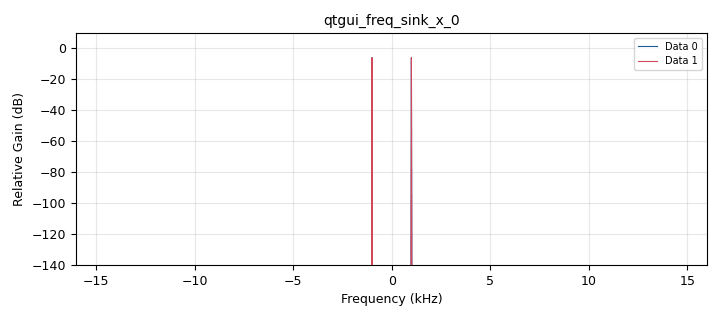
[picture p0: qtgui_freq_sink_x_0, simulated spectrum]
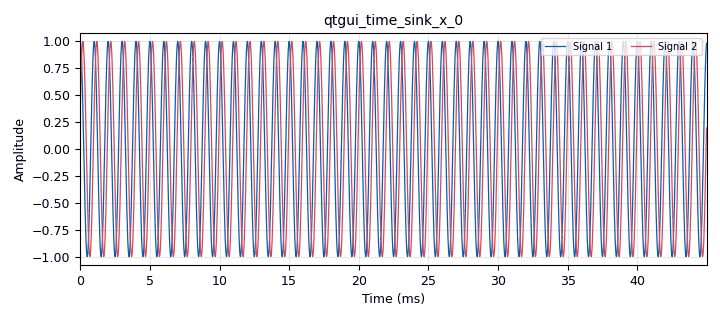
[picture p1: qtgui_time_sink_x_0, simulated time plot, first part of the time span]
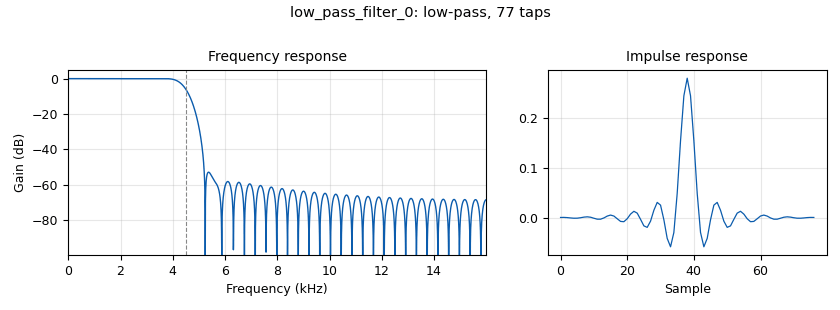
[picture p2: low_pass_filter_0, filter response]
options:
  parameters:
    generate_options: qt_gui
    id: first_prog_signal
    output_language: python
    title: Not titled yet
  states: {}

blocks:
- name: freq
  id: variable_qtgui_range
  parameters:
    start: '1000'
    step: '1'
    stop: '15000'
    value: '1000'
  states: {}
- name: samp_rate
  id: variable
  parameters:
    value: '32000'
  states: {}
- name: analog_sig_source_x_0
  id: analog_sig_source_x
  parameters:
    amp: '1'
    freq: freq
    offset: '0'
    phase: '0'
    samp_rate: samp_rate
    type: float
    waveform: analog.GR_COS_WAVE
  states: {}
- name: blocks_throttle2_0
  id: blocks_throttle2
  parameters:
    samples_per_second: samp_rate
    type: float
  states: {}
- name: low_pass_filter_0
  id: low_pass_filter
  parameters:
    cutoff_freq: '4500'
    gain: '1'
    interp: '1'
    samp_rate: samp_rate
    type: interp_fir_filter_fff
    width: '1000'
    win: window.WIN_HAMMING
  states: {}
- name: qtgui_freq_sink_x_0
  id: qtgui_freq_sink_x
  parameters:
    bw: samp_rate
    fc: '0'
    fftsize: '1024'
    nconnections: '2'
    type: float
    wintype: window.WIN_RECTANGULAR
  states: {}
- name: qtgui_time_sink_x_0
  id: qtgui_time_sink_x
  parameters:
    nconnections: '2'
    size: '4096'
    srate: samp_rate
    type: float
  states: {}

connections:
- [analog_sig_source_x_0, '0', blocks_throttle2_0, '0']
- [analog_sig_source_x_0, '0', low_pass_filter_0, '0']
- [blocks_throttle2_0, '0', qtgui_freq_sink_x_0, '0']
- [blocks_throttle2_0, '0', qtgui_time_sink_x_0, '0']
- [low_pass_filter_0, '0', qtgui_freq_sink_x_0, '1']
- [low_pass_filter_0, '0', qtgui_time_sink_x_0, '1']

metadata:
  file_format: 1
  grc_version: 3.10.10.0
